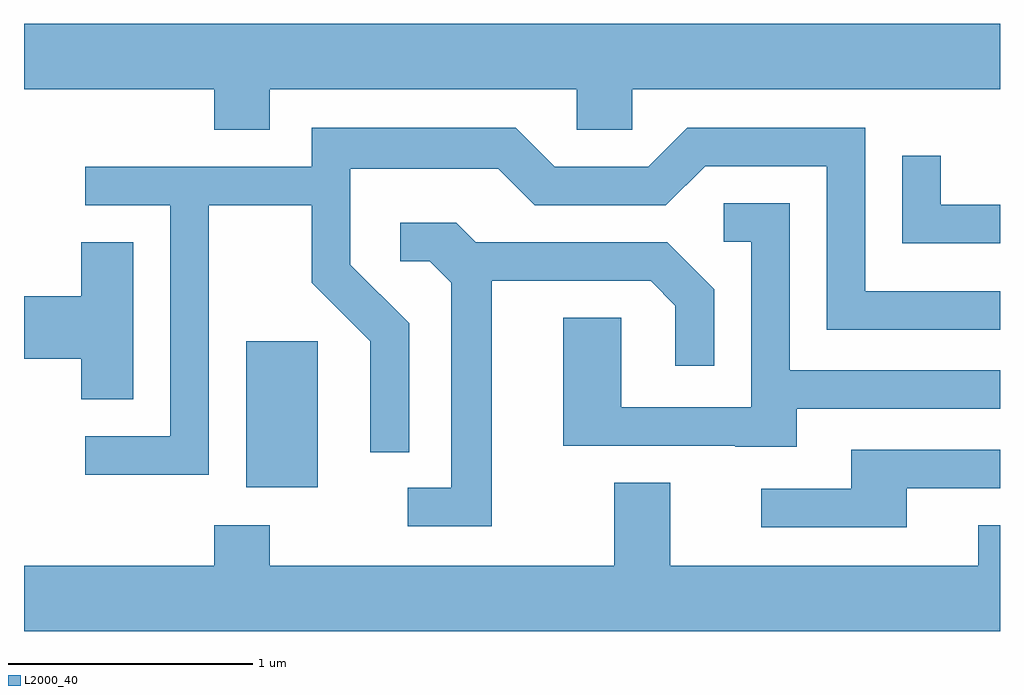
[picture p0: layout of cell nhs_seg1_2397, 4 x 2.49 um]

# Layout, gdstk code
import gdstk
lib = gdstk.Library(unit=1e-6, precision=1e-09)
def R(c, l, rs):  # rectangles x0, y0, x1, y1
    for r in rs: c.add(gdstk.rectangle(r[:2], r[2:], *l))
def P(c, l, *ps):  # polygons
    for p in ps: c.add(gdstk.Polygon(p, *l))
L2000_40 = (2000, 40)

nhs_seg1_2397 = lib.new_cell('nhs_seg1_2397')
R(nhs_seg1_2397, L2000_40, [(258.521,949.006,258.814,949.604)])
P(nhs_seg1_2397, L2000_40, [(258.619,950.636),(259.876,950.636),(259.876,950.471),(260.104,950.471),(260.104,950.636),(261.611,950.636),(261.611,950.904),(257.611,950.904),(257.611,950.636),(258.391,950.636),(258.391,950.471),(258.619,950.471)],
  [(258.369,950.161),(258.791,950.161),(258.791,949.844),(259.031,949.604),(259.031,949.148),(259.189,949.148),(259.189,949.677),(258.949,949.917),(258.949,950.311),(259.554,950.311),(259.704,950.161),(260.242,950.161),(260.402,950.321),(260.901,950.321),(260.901,949.651),(261.611,949.651),(261.611,949.809),(261.059,949.809),(261.059,950.479),(260.329,950.479),(260.169,950.319),(259.787,950.319),(259.627,950.479),(258.791,950.479),(258.791,950.319),(257.863,950.319),(257.863,950.161),(258.211,950.161),(258.211,949.214),(257.863,949.214),(257.863,949.056),(258.369,949.056)],
  [(261.611,950.164),(261.369,950.164),(261.369,950.363),(261.211,950.363),(261.211,950.006),(261.611,950.006)],
  [(260.779,949.326),(261.611,949.326),(261.611,949.484),(260.749,949.484),(260.749,950.169),(260.478,950.169),(260.478,950.011),(260.591,950.011),(260.591,949.334),(260.059,949.334),(260.059,949.699),(259.821,949.699),(259.821,949.176),(260.525,949.176),(260.525,949.171),(260.779,949.171)],
  [(259.529,949.851),(260.179,949.851),(260.281,949.749),(260.281,949.503),(260.439,949.503),(260.439,949.817),(260.247,950.009),(259.462,950.009),(259.382,950.089),(259.153,950.089),(259.153,949.931),(259.274,949.931),(259.361,949.844),(259.361,949.004),(259.183,949.004),(259.183,948.846),(259.529,948.846)],
  [(258.059,950.009),(257.846,950.009),(257.846,949.789),(257.611,949.789),(257.611,949.531),(257.846,949.531),(257.846,949.366),(258.059,949.366)],
  [(261.229,949.001),(261.611,949.001),(261.611,949.159),(261.001,949.159),(261.001,948.999),(260.633,948.999),(260.633,948.841),(261.229,948.841)],
  [(261.611,948.849),(261.521,948.849),(261.521,948.684),(260.259,948.684),(260.259,949.024),(260.031,949.024),(260.031,948.684),(258.619,948.684),(258.619,948.849),(258.391,948.849),(258.391,948.684),(257.611,948.684),(257.611,948.416),(261.611,948.416)])

lib.write_gds('nhs_seg1_2397.gds')
